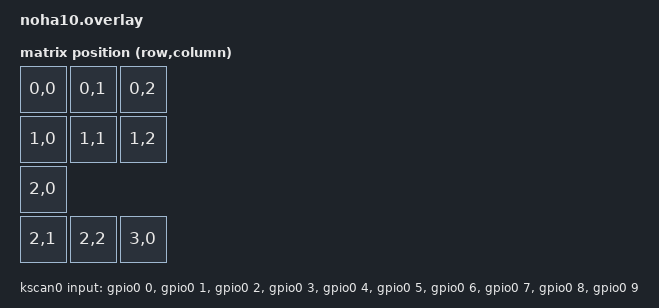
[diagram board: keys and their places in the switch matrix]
#include <dt-bindings/zmk/matrix_transform.h>

/ {
	chosen {
		zmk,kscan = &kscan0;
        zmk,matrix_transform = &default_transform;
	};

    kscan0: kscan {
        compatible = "zmk,kscan-gpio-direct";
        input-gpios
            = <&gpio0  0 (GPIO_ACTIVE_LOW | GPIO_PULL_UP)>
            , <&gpio0  1 (GPIO_ACTIVE_LOW | GPIO_PULL_UP)>
            , <&gpio0  2 (GPIO_ACTIVE_LOW | GPIO_PULL_UP)>
            , <&gpio0  3 (GPIO_ACTIVE_LOW | GPIO_PULL_UP)>
            , <&gpio0  4 (GPIO_ACTIVE_LOW | GPIO_PULL_UP)>
            , <&gpio0  5 (GPIO_ACTIVE_LOW | GPIO_PULL_UP)>
            , <&gpio0  6 (GPIO_ACTIVE_LOW | GPIO_PULL_UP)>
            , <&gpio0  7 (GPIO_ACTIVE_LOW | GPIO_PULL_UP)>
            , <&gpio0  8 (GPIO_ACTIVE_LOW | GPIO_PULL_UP)>
            , <&gpio0  9 (GPIO_ACTIVE_LOW | GPIO_PULL_UP)>
            ;
    };


    default_transform: keymap_transform_0 {
        compatible = "zmk,matrix-transform";
        columns = <3>;
        rows = <4>;
        map = <
        RC(0,0) RC(0,1) RC(0,2) 
        RC(1,0) RC(1,1) RC(1,2) 
        RC(2,0) 
        RC(2,1) RC(2,2) RC(3,0)
            >;
    };
};

